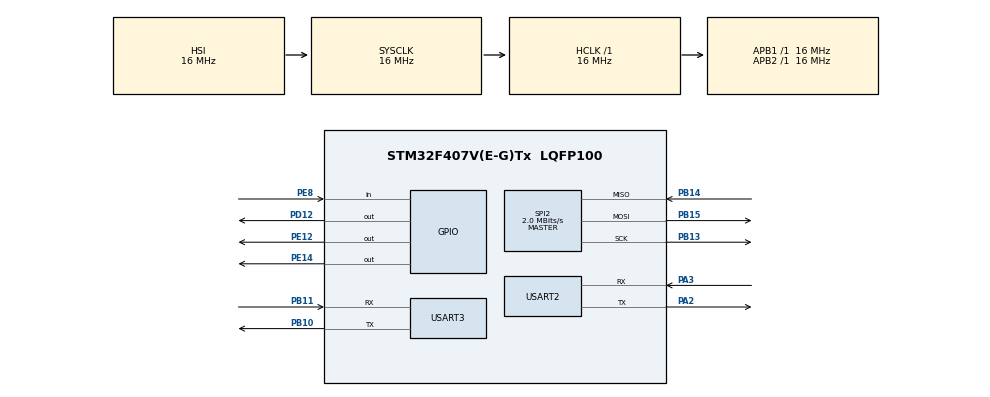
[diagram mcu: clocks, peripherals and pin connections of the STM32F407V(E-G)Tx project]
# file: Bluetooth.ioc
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Mcu.Family=STM32F4
Mcu.Name=STM32F407V(E-G)Tx
Mcu.Package=LQFP100
NVIC.PriorityGroup=NVIC_PRIORITYGROUP_4
PA2.Mode=Asynchronous
PA2.Signal=USART2_TX
PA3.Mode=Asynchronous
PA3.Signal=USART2_RX
PB10.Mode=Asynchronous
PB10.Signal=USART3_TX
PB11.Mode=Asynchronous
PB11.Signal=USART3_RX
PB13.Mode=Full_Duplex_Master
PB13.Signal=SPI2_SCK
PB14.Mode=Full_Duplex_Master
PB14.Signal=SPI2_MISO
PB15.Mode=Full_Duplex_Master
PB15.Signal=SPI2_MOSI
PD12.Signal=GPIO_Output
PE12.Signal=GPIO_Output
PE14.Signal=GPIO_Output
PE8.GPIO_Mode=GPIO_MODE_INPUT
PE8.GPIO_PuPd=GPIO_NOPULL
PE8.Signal=GPIO_Input
ProjectManager.HeapSize=0x200
ProjectManager.StackSize=0x400
ProjectManager.TargetToolchain=MDK-ARM V5
RCC.AHBFreq_Value=16000000
RCC.APB1Freq_Value=16000000
RCC.APB2Freq_Value=16000000
RCC.CortexFreq_Value=16000000
RCC.HSE_VALUE=25000000
RCC.HSI_VALUE=16000000
RCC.LSE_VALUE=32768
RCC.SYSCLKFreq_VALUE=16000000
RCC.VCOOutputFreq_Value=192000000
SPI2.BaudRatePrescaler=SPI_BAUDRATEPRESCALER_8
SPI2.CalculateBaudRate=2.0 MBits/s
SPI2.Direction=SPI_DIRECTION_2LINES
SPI2.FirstBit=SPI_FIRSTBIT_LSB
SPI2.Mode=SPI_MODE_MASTER
SPI2.VirtualType=VM_MASTER
USART2.VirtualMode=VM_ASYNC
USART3.VirtualMode=VM_ASYNC
board=custom

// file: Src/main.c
/* USER CODE BEGIN Header */
/**
  ******************************************************************************
  * @file           : main.c
  * @brief          : Main program body
  ******************************************************************************
  * @attention
  *
  * <h2><center>&copy; Copyright (c) 2019 STMicroelectronics.
  * All rights reserved.</center></h2>
  *
  * This software component is licensed by ST under BSD 3-Clause license,
  * the "License"; You may not use this file except in compliance with the
  * License. You may obtain a copy of the License at:
  *                        opensource.org/licenses/BSD-3-Clause
  *
  ******************************************************************************
  */
/* USER CODE END Header */

#include "main.h"

/* USER CODE BEGIN Includes */
#include "../MDK-ARM/nrf.h"
#include "../MDK-ARM/AT_command.h"
#include <string.h>

/* USER CODE END Includes */

/* USER CODE BEGIN PD */
#define TAILLE_REPONSE 200
/* USER CODE END PD */

SPI_HandleTypeDef hspi2;

UART_HandleTypeDef huart2;
UART_HandleTypeDef huart3;

/* USER CODE BEGIN PV */
AT_command currentAT;
StatusAT statusAT = EN_COURS;
char rxBuffer[1];

struct nrf_tx tx;
static uint8_t valueBluetooth = NRF_DATA_DEFAULT;

/* USER CODE END PV */

void SystemClock_Config(void);
static void MX_GPIO_Init(void);
static void MX_SPI2_Init(void);
static void MX_USART2_UART_Init(void);
static void MX_USART3_UART_Init(void);
/* USER CODE BEGIN PFP */
static void GPIO_Init(void);
/* USER CODE END PFP */

int main(void)
{
  /* USER CODE BEGIN 1 */
	volatile int setupStatus;
  /* USER CODE END 1 */

  /* MCU Configuration--------------------------------------------------------*/

  /* Reset of all peripherals, Initializes the Flash interface and the Systick. */
  HAL_Init();

  /* USER CODE BEGIN Init */
	__HAL_RCC_SPI1_CLK_ENABLE();
  /* USER CODE END Init */

  /* Configure the system clock */
  SystemClock_Config();

  /* Initialize all configured peripherals */
  MX_GPIO_Init();
  MX_SPI2_Init();
  MX_USART2_UART_Init();
  MX_USART3_UART_Init();
  /* USER CODE BEGIN 2 */
	GPIO_Init();

	//HAL_UART_Receive_IT(&huart6, (uint8_t*) rxBuffer, 1);

	/* init module 4g */
	initLARA(&huart3);
	initConnection(&huart3);

	/* precedure de reset */
	HAL_GPIO_WritePin(GPIOE, NRF_PIN_RST, GPIO_PIN_RESET);
  HAL_Delay(500);
	HAL_GPIO_WritePin(GPIOE, NRF_PIN_RST, GPIO_PIN_SET);
	HAL_Delay(100);

	setupStatus = nrf_setup();
	if (setupStatus < 0){
		HAL_UART_Transmit(&huart2,(uint8_t *) "ERROR\n\r",8, 10);
		Error_Handler();
	}
	HAL_UART_Transmit(&huart2,(uint8_t *) "OK\n\r",5, 10);

	memset(&tx, 0, sizeof(tx));

	struct nrf_rx rx;
	memset(&rx, 0, sizeof(rx));

	nrf_advertise();
	for(unsigned char i = 0; i < 3; i++){
		nrf_receive(&rx);
		nrf_parse(&rx);
		memset(&rx, 0, sizeof(rx));
		HAL_Delay(40);
	}

	nrf_manage_tx(NRF_DATA_DEFAULT);
	HAL_Delay(100);
	nrf_manage_tx(NRF_DATA_DEFAULT);
	HAL_Delay(1000);
	nrf_manage_tx(NRF_DATA_DEFAULT);

  /* USER CODE END 2 */

  /* Infinite loop */
  /* USER CODE BEGIN WHILE */

  while (1){
		HAL_GPIO_TogglePin(GPIOD, GPIO_PIN_12);
		/* Partie Bluetooth */
		if(HAL_GPIO_ReadPin(GPIOA,GPIO_PIN_0) == GPIO_PIN_SET){
			valueBluetooth = 0x55;
			while(HAL_GPIO_ReadPin(GPIOA,GPIO_PIN_0) == GPIO_PIN_SET);
		}

		/* Partie 4G */
		if(valueBluetooth != NRF_DATA_DEFAULT){
			nrf_manage_tx(valueBluetooth);
			valueBluetooth = NRF_DATA_DEFAULT;
		}

		HAL_Delay(100);
    /* USER CODE END WHILE */

  }
}

void SystemClock_Config(void)
{
  RCC_OscInitTypeDef RCC_OscInitStruct = {0};
  RCC_ClkInitTypeDef RCC_ClkInitStruct = {0};

  /** Configure the main internal regulator output voltage
  */
  __HAL_RCC_PWR_CLK_ENABLE();
  __HAL_PWR_VOLTAGESCALING_CONFIG(PWR_REGULATOR_VOLTAGE_SCALE1);
  /** Initializes the CPU, AHB and APB busses clocks
  */
  RCC_OscInitStruct.OscillatorType = RCC_OSCILLATORTYPE_HSI;
  RCC_OscInitStruct.HSIState = RCC_HSI_ON;
  RCC_OscInitStruct.HSICalibrationValue = RCC_HSICALIBRATION_DEFAULT;
  RCC_OscInitStruct.PLL.PLLState = RCC_PLL_NONE;
  if (HAL_RCC_OscConfig(&RCC_OscInitStruct) != HAL_OK)
  {
    Error_Handler();
  }
  /** Initializes the CPU, AHB and APB busses clocks
  */
  RCC_ClkInitStruct.ClockType = RCC_CLOCKTYPE_HCLK|RCC_CLOCKTYPE_SYSCLK
                              |RCC_CLOCKTYPE_PCLK1|RCC_CLOCKTYPE_PCLK2;
  RCC_ClkInitStruct.SYSCLKSource = RCC_SYSCLKSOURCE_HSI;
  RCC_ClkInitStruct.AHBCLKDivider = RCC_SYSCLK_DIV1;
  RCC_ClkInitStruct.APB1CLKDivider = RCC_HCLK_DIV1;
  RCC_ClkInitStruct.APB2CLKDivider = RCC_HCLK_DIV1;

  if (HAL_RCC_ClockConfig(&RCC_ClkInitStruct, FLASH_LATENCY_0) != HAL_OK)
  {
    Error_Handler();
  }
}

static void MX_SPI2_Init(void)
{

  /* SPI2 parameter configuration*/
  hspi2.Instance = SPI2;
  hspi2.Init.Mode = SPI_MODE_MASTER;
  hspi2.Init.Direction = SPI_DIRECTION_2LINES;
  hspi2.Init.DataSize = SPI_DATASIZE_8BIT;
  hspi2.Init.CLKPolarity = SPI_POLARITY_LOW;
  hspi2.Init.CLKPhase = SPI_PHASE_1EDGE;
  hspi2.Init.NSS = SPI_NSS_SOFT;
  hspi2.Init.BaudRatePrescaler = SPI_BAUDRATEPRESCALER_8;
  hspi2.Init.FirstBit = SPI_FIRSTBIT_LSB;
  hspi2.Init.TIMode = SPI_TIMODE_DISABLE;
  hspi2.Init.CRCCalculation = SPI_CRCCALCULATION_DISABLE;
  hspi2.Init.CRCPolynomial = 10;
  if (HAL_SPI_Init(&hspi2) != HAL_OK)
  {
    Error_Handler();
  }

}

static void MX_USART2_UART_Init(void)
{

  huart2.Instance = USART2;
  huart2.Init.BaudRate = 115200;
  huart2.Init.WordLength = UART_WORDLENGTH_8B;
  huart2.Init.StopBits = UART_STOPBITS_1;
  huart2.Init.Parity = UART_PARITY_NONE;
  huart2.Init.Mode = UART_MODE_TX_RX;
  huart2.Init.HwFlowCtl = UART_HWCONTROL_NONE;
  huart2.Init.OverSampling = UART_OVERSAMPLING_16;
  if (HAL_UART_Init(&huart2) != HAL_OK)
  {
    Error_Handler();
  }

}

static void MX_USART3_UART_Init(void)
{

  huart3.Instance = USART3;
  huart3.Init.BaudRate = 115200;
  huart3.Init.WordLength = UART_WORDLENGTH_8B;
  huart3.Init.StopBits = UART_STOPBITS_1;
  huart3.Init.Parity = UART_PARITY_NONE;
  huart3.Init.Mode = UART_MODE_TX_RX;
  huart3.Init.HwFlowCtl = UART_HWCONTROL_NONE;
  huart3.Init.OverSampling = UART_OVERSAMPLING_16;
  if (HAL_UART_Init(&huart3) != HAL_OK)
  {
    Error_Handler();
  }

}

static void MX_GPIO_Init(void)
{
  GPIO_InitTypeDef GPIO_InitStruct = {0};

  /* GPIO Ports Clock Enable */
  __HAL_RCC_GPIOA_CLK_ENABLE();
  __HAL_RCC_GPIOE_CLK_ENABLE();
  __HAL_RCC_GPIOB_CLK_ENABLE();
  __HAL_RCC_GPIOD_CLK_ENABLE();

  /*Configure GPIO pin Output Level */
  HAL_GPIO_WritePin(GPIOE, GPIO_PIN_12|GPIO_PIN_14, GPIO_PIN_RESET);

  /*Configure GPIO pin Output Level */
  HAL_GPIO_WritePin(GPIOD, GPIO_PIN_12, GPIO_PIN_RESET);

  /*Configure GPIO pin : PE8 */
  GPIO_InitStruct.Pin = GPIO_PIN_8;
  GPIO_InitStruct.Mode = GPIO_MODE_INPUT;
  GPIO_InitStruct.Pull = GPIO_NOPULL;
  HAL_GPIO_Init(GPIOE, &GPIO_InitStruct);

  /*Configure GPIO pins : PE12 PE14 */
  GPIO_InitStruct.Pin = GPIO_PIN_12|GPIO_PIN_14;
  GPIO_InitStruct.Mode = GPIO_MODE_OUTPUT_PP;
  GPIO_InitStruct.Pull = GPIO_NOPULL;
  GPIO_InitStruct.Speed = GPIO_SPEED_FREQ_LOW;
  HAL_GPIO_Init(GPIOE, &GPIO_InitStruct);

  /*Configure GPIO pin : PD12 */
  GPIO_InitStruct.Pin = GPIO_PIN_12;
  GPIO_InitStruct.Mode = GPIO_MODE_OUTPUT_PP;
  GPIO_InitStruct.Pull = GPIO_NOPULL;
  GPIO_InitStruct.Speed = GPIO_SPEED_FREQ_LOW;
  HAL_GPIO_Init(GPIOD, &GPIO_InitStruct);

}

/* USER CODE BEGIN 4 */
void HAL_UART_RxCpltCallback(UART_HandleTypeDef *huart)
{
	if (huart->Instance == huart3.Instance){
		static char staking[RX_BUFFER_SIZE];
		static unsigned short index = 0;
		char flag_reset_index = 'F';
		char flag_end_responce = 0;

		staking[index] = rxBuffer[0];

		/*test fin des reponses*/
		if (currentAT.type == AT_C_UHTTPC){
			if(staking[index-6] == ':'){
				flag_end_responce = 1;
			}
		}
		else if(currentAT.type == AT_C_UDWNFILE){
				if (staking[index] == '>')
					flag_end_responce = 1;
		}
		else if((staking[index] == 'K' && staking[index-1] == 'O') || (staking[index] == 'R' && staking[index-1] == 'O'))
			flag_end_responce = 1;
		/*-------*/

		if (flag_end_responce){
			/*Actions grâce aux réponses*/
			flag_end_responce = 0;
			static char reponses[5][TAILLE_REPONSE];
			/* Reset de reponse*/
			for(short index_tab = 0; index_tab < 5; index_tab++){ //memset ?
				for(short new_index = 0; new_index < TAILLE_REPONSE ; new_index++){
					reponses[index_tab][new_index] = 0x00;
				}
			}
			//volatile unsigned int nb_reponse = currentAT.nombre_reponses;

			/* récupération des réponses dans des buffers spécifiques */
			uint8_t cptBuffer=0, cpt = 0;
			for(unsigned short i=0 ; i<index+1 ; i++){
				if(staking[i] == '\r' || staking[i] == '\n' || staking[i] == '\0' || staking[i] == 0x0D){
					if(cpt != 0){
						reponses[cptBuffer][cpt+1] = '\0';
						cptBuffer+=1;
						cpt = 0;
					}
				}
				else{
					reponses[cptBuffer][cpt] = staking[i];
					cpt+=1;
				}
			}
		 /* ---	---	---	---	---	---	---	---		---	---		---	---	*/

			/* Affichage des réponses */
			for(short i = 0; i < currentAT.nombre_reponses; i++){
					HAL_UART_Transmit(&huart2,(uint8_t*) reponses[i],sizeTabChar(reponses[i]),200);
					uartEndLine(&huart2);
			}
			uartEndLine(&huart2);

			/* Verification des réponses pour chaque type de commande */
			if (currentAT.type == AT_OE || currentAT.type == AT_OE_RI){
				if (tabsEquals(reponses[1],"OK\0"))
					statusAT = OK;
				else
					statusAT = FAILED;
			}
			else if (currentAT.type == AT_RI_OE){
				if(tabsEquals(reponses[2], "OK\0"))
					statusAT = OK;
				else
					statusAT = FAILED;
			}
			else if (currentAT.type == AT_C_CPIN){
				if (tabsEquals(reponses[1], "+CPIN: READY\0"))
					statusAT = OK;
				else
					statusAT = FAILED;
			}
			else if(currentAT.type == AT_C_COPS || currentAT.type == AT_RI){
				statusAT = OK;
			}
			else if(currentAT.type == AT_C_UHTTPC){
				if (reponses[2][15] == '1')
					statusAT = OK;
				else
					statusAT = FAILED;
			}
			else if (currentAT.type ==  RI_AT_C_UHTTPC){
				if (reponses[3][15] == '1')
					statusAT = OK;
				else
					statusAT = FAILED;
			}
			else if (currentAT.type == AT_C_UDWNFILE){
				statusAT = OK;

				/* On fait ça de manière à reset le buffer qui va contenir le ok de UDWNFILE */
				currentAT.type = AT_RI;
			}
			else if(currentAT.type == AT_C_UFTPC){
				if (reponses[2][12] == '1')
					statusAT = OK;
				else
					statusAT = FAILED;
			}
			else if(currentAT.type == AT_C_URDFILE){
				if(tabsEquals(reponses[2], "OK")){
					statusAT = OK;
					uint8_t value = reponses[1][30] - 48;
					if (valueBluetooth != value)
						valueBluetooth = value;
				}
				else
					statusAT = FAILED;
			}
			/* Reset des buffers*/
			for(short index_tab = 0; index_tab < RX_BUFFER_SIZE; index_tab++) //memset ?
				staking[index_tab] = 0x00;
			flag_reset_index = 'T';
			/* - - - - - - - - */
		}
		HAL_UART_Receive_IT(huart, (uint8_t *)rxBuffer, 1);

		if (flag_reset_index == 'T'){
			flag_reset_index = 'F';
			index = 0;
		}
		else
			index++;

		rxBuffer[0] = 0x00;
}
}

static void GPIO_Init(void){
	GPIO_InitTypeDef GPIO_InitStruct = {0};

	/*Configure GPIO pin : PA0 */
  GPIO_InitStruct.Pin = GPIO_PIN_0;
  GPIO_InitStruct.Mode = GPIO_MODE_INPUT;
  GPIO_InitStruct.Pull = GPIO_PULLDOWN;
  GPIO_InitStruct.Speed = GPIO_SPEED_FREQ_LOW;
  HAL_GPIO_Init(GPIOA, &GPIO_InitStruct);
}

/* USER CODE END 4 */

void Error_Handler(void)
{
  /* USER CODE BEGIN Error_Handler_Debug */
  /* User can add his own implementation to report the HAL error return state */
	while(1){
		HAL_GPIO_TogglePin(GPIOD, GPIO_PIN_12);
		HAL_Delay(300);
		HAL_GPIO_TogglePin(GPIOD, GPIO_PIN_12);
		HAL_Delay(100);
	}
  /* USER CODE END Error_Handler_Debug */
}

/************************ (C) COPYRIGHT STMicroelectronics *****END OF FILE****/
